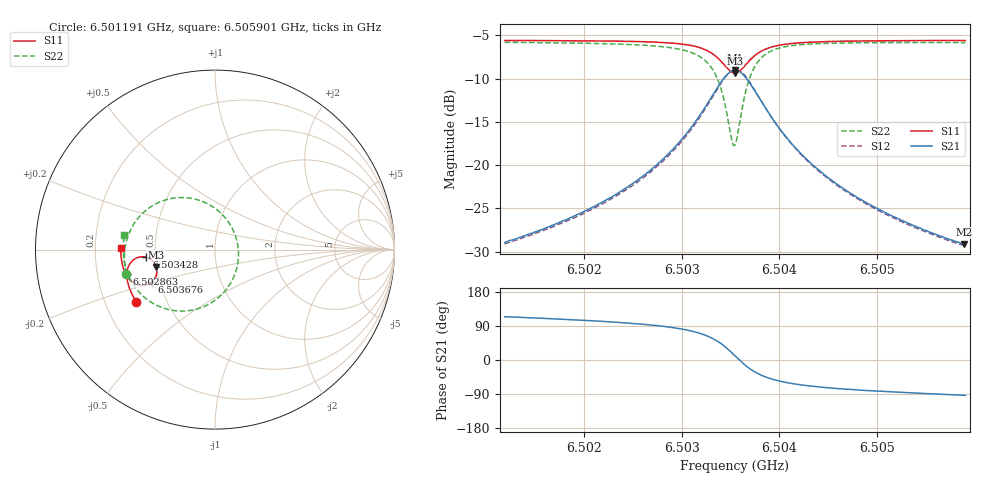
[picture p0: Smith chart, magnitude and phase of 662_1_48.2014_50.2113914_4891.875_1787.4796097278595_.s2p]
#  HZ  S  RI  R  50.00
! Rohde & Schwarz Vector Network Analyzer
! Rohde-Schwarz,ZNB20-2Port,1311601062101988,3.16
! Created: UTC 3/20/2024, 12:05:46 PM
! freq[Hz]  re:S11  im:S11  re:S21  im:S21  re:S12  im:S12  re:S22  im:S22
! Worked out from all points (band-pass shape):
!   401 points, 6.501191 GHz to 6.505901 GHz, reference 50 ohm
!   highest |S21| = -9.03 dB at 6.503546 GHz (marker M1); lowest = -29.2 dB at 6.50589 GHz (marker M2)
!   |S21| within 3 dB of the highest: 6.503312 GHz to 6.503782 GHz (470.4 kHz wide, 0.00723 % of centre)
!   lowest |S11| = -9.3 dB at 6.503546 GHz (marker M3), VSWR 2.03, Z = 25 - j5.48 ohm
!   |S11| at or under -10 dB: nowhere
!   |S22| runs from -17.8 to -5.8 dB; largest |S21 - S12| = 0.013
!   S11 on the Smith chart (normalised r, x): 6.501191 GHz: 0.34, -0.27; 6.502863 GHz: 0.33, -0.12; 6.503428 GHz: 0.45, -0.04; 6.503676 GHz: 0.46, -0.19; 6.505901 GHz: 0.31, +0.01
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6.5011911e9  -0.4379 -0.2918  -0.0146 0.0326  -0.0127 0.0326  -0.4955 -0.1339
6.5019801e9  -0.4699 -0.2314  -0.0137 0.0513  -0.011 0.0508  -0.5051 -0.046
6.502404e9  -0.484 -0.1924  -0.0105 0.0712  -0.00712 0.07  -0.4999 0.0177
6.502769e9  -0.4913 -0.15  -0.000357 0.103  0.00382 0.1005  -0.477 0.096
6.5028632e9  -0.4915 -0.1364  0.00559 0.1157  0.00986 0.1125  -0.4642 0.1229
6.5030634e9  -0.4855 -0.1019  0.0307 0.1523  0.0349 0.1474  -0.4122 0.1937
6.5032048e9  -0.469 -0.0714  0.0724 0.1873  0.0757 0.1808  -0.3318 0.254
6.5033343e9  -0.4312 -0.0446  0.1526 0.2138  0.1539 0.2066  -0.1859 0.2901
6.5034285e9  -0.3826 -0.0424  0.2475 0.1961  0.2482 0.1904  -0.0213 0.2445
6.5035109e9  -0.3381 -0.0737  0.3288 0.1181  0.3318 0.1127  0.1087 0.0906
6.5035463e9  -0.3268 -0.0969  0.3472 0.0671  0.3512 0.0605  0.1303 -0.00514
6.5035698e9  -0.3239 -0.1138  0.3506 0.031  0.3549 0.0229  0.1277 -0.0715
6.5036051e9  -0.3261 -0.1393  0.3426 -0.0213  0.3464 -0.0317  0.0989 -0.1648
6.5036758e9  -0.3496 -0.1782  0.2936 -0.1007  0.2934 -0.114  -0.0167 -0.2936
6.5037818e9  -0.3971 -0.1995  0.2025 -0.1476  0.1964 -0.1588  -0.2014 -0.3422
6.5039349e9  -0.446 -0.19  0.115 -0.143  0.1069 -0.149  -0.3591 -0.2913
6.5040997e9  -0.4746 -0.1684  0.0674 -0.1208  0.0603 -0.1235  -0.4355 -0.2221
6.5043352e9  -0.4959 -0.1387  0.0359 -0.0944  0.0302 -0.0951  -0.4811 -0.1466
6.5047003e9  -0.5119 -0.0989  0.0155 -0.0686  0.0115 -0.0682  -0.5048 -0.0677
6.5051242e9  -0.5209 -0.0587  0.00551 -0.0514  0.00291 -0.0507  -0.5114 -0.004
6.5058897e9  -0.5262 0.00709  -0.00181 -0.0347  -0.00338 -0.034  -0.5048 0.0811
6.5059014e9  -0.5261 0.00809  -0.002 -0.0347  -0.00349 -0.0338  -0.5047 0.0824
